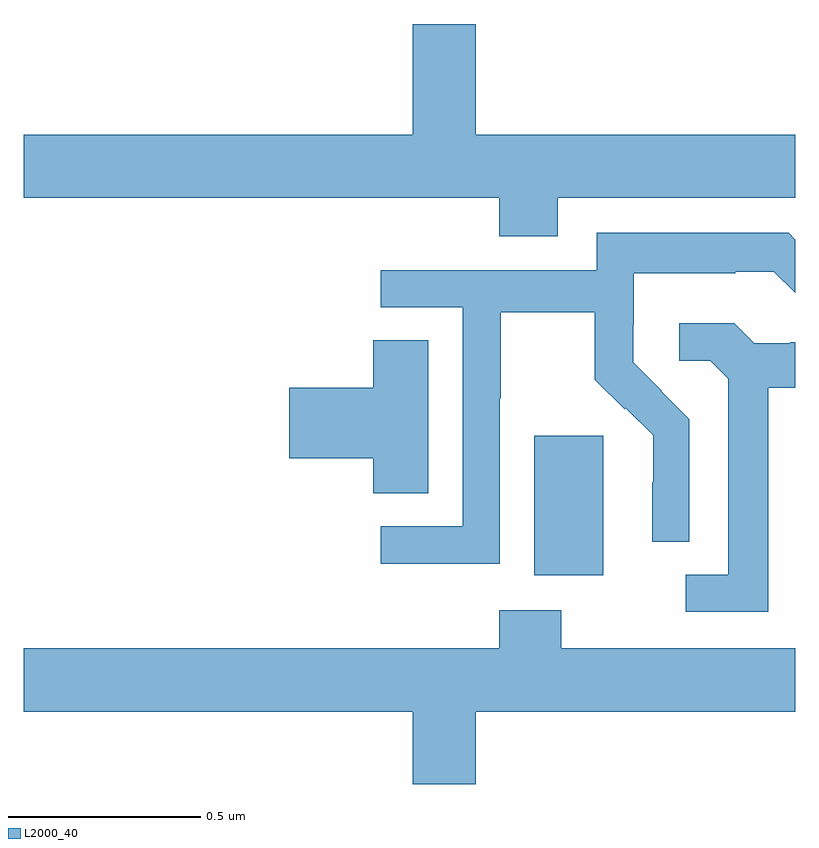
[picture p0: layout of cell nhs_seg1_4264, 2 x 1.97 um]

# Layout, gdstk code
import gdstk
lib = gdstk.Library(unit=1e-6, precision=1e-09)
def R(c, l, rs):  # rectangles x0, y0, x1, y1
    for r in rs: c.add(gdstk.rectangle(r[:2], r[2:], *l))
def P(c, l, *ps):  # polygons
    for p in ps: c.add(gdstk.Polygon(p, *l))
L2000_40 = (2000, 40)

nhs_seg1_4264 = lib.new_cell('nhs_seg1_4264')
R(nhs_seg1_4264, L2000_40, [(165.323,534.77,165.502,535.131)])
P(nhs_seg1_4264, L2000_40, [(165.172,536.199),(165.008,536.199),(165.008,535.912),(164,535.912),(164,535.748),(165.233,535.748),(165.233,535.649),(165.385,535.649),(165.385,535.748),(166,535.748),(166,535.912),(165.172,535.912)],
  [(165.234,535.228),(165.237,535.228),(165.237,535.452),(165.481,535.452),(165.481,535.277),(165.558,535.2),(165.561,535.203),(165.632,535.133),(165.632,535.01),(165.63,535.01),(165.63,534.856),(165.726,534.856),(165.726,535.174),(165.653,535.247),(165.654,535.248),(165.58,535.322),(165.58,535.419),(165.582,535.419),(165.582,535.553),(165.845,535.553),(165.845,535.557),(165.945,535.557),(166,535.502),(166,535.64),(165.983,535.657),(165.486,535.657),(165.486,535.56),(164.925,535.56),(164.925,535.464),(165.138,535.464),(165.138,534.897),(164.925,534.897),(164.925,534.799),(165.234,534.799)],
  [(165.931,535.256),(166,535.256),(166,535.374),(165.988,535.374),(165.988,535.371),(165.894,535.371),(165.842,535.423),(165.699,535.423),(165.699,535.326),(165.78,535.326),(165.827,535.279),(165.827,534.771),(165.717,534.771),(165.717,534.675),(165.931,534.675)],
  [(165.049,535.379),(164.906,535.379),(164.906,535.256),(164.688,535.256),(164.688,535.073),(164.906,535.073),(164.906,534.982),(165.049,534.982)],
  [(165.172,534.416),(166,534.416),(166,534.58),(165.393,534.58),(165.393,534.679),(165.233,534.679),(165.233,534.58),(164,534.58),(164,534.416),(165.008,534.416),(165.008,534.228),(165.172,534.228)])

lib.write_gds('nhs_seg1_4264.gds')
